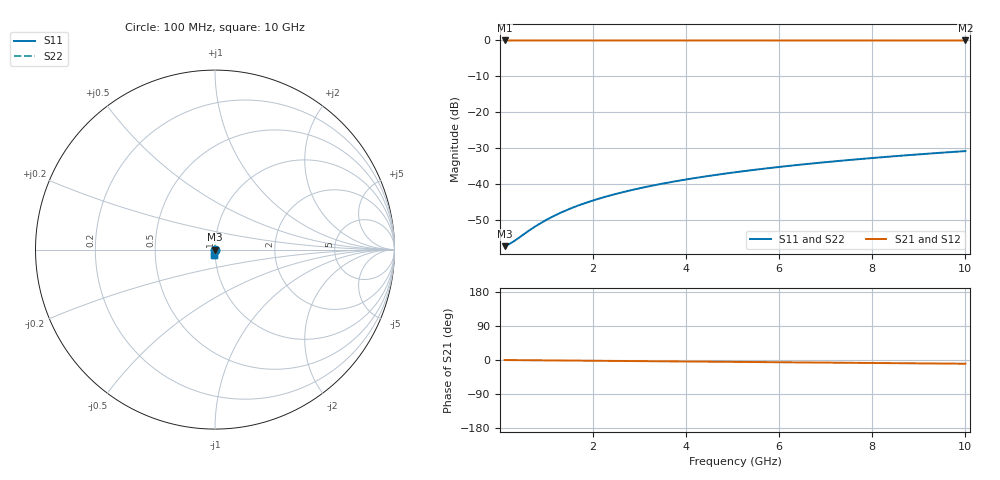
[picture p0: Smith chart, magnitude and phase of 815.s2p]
# Hz S RI R 50.00
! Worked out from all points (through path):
!   100 points, 100 MHz to 10 GHz, reference 50 ohm
!   highest |S21| = -0.01 dB at 100 MHz (marker M1); lowest = 0.0 dB at 10 GHz (marker M2)
!   group delay of S21, straight-line fit = 2.73 ps
!   lowest |S11| = -57.2 dB at 100 MHz (marker M3), VSWR 1.00, Z = 50.1 - j0.0292 ohm
!   |S11| at or under -10 dB: start of sweep to end of sweep
!   |S22| runs from -57.2 to -30.8 dB; largest |S21 - S12| = 0
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1e8  0.00135 -0.000292  0.9986 -0.00171  0.9986 -0.00171  0.00135 -0.000292
2e8  0.00136 -0.000583  0.9986 -0.00343  0.9986 -0.00343  0.00136 -0.000583
3e8  0.00136 -0.000875  0.9986 -0.00514  0.9986 -0.00514  0.00136 -0.000875
7e8  0.00135 -0.00204  0.9985 -0.012  0.9985 -0.012  0.00135 -0.00204
8e8  0.00135 -0.00233  0.9985 -0.0137  0.9985 -0.0137  0.00135 -0.00233
1e9  0.00133 -0.00292  0.9984 -0.0171  0.9984 -0.0171  0.00133 -0.00292
1.2e9  0.00132 -0.0035  0.9984 -0.0206  0.9984 -0.0206  0.00132 -0.0035
1.4e9  0.00129 -0.00408  0.9983 -0.024  0.9983 -0.024  0.00129 -0.00408
1.6e9  0.00127 -0.00467  0.9982 -0.0274  0.9982 -0.0274  0.00127 -0.00467
1.8e9  0.00123 -0.00525  0.9981 -0.0308  0.9981 -0.0308  0.00123 -0.00525
2.1e9  0.00118 -0.00612  0.9979 -0.036  0.9979 -0.036  0.00118 -0.00612
2.5e9  0.00109 -0.00729  0.9976 -0.0428  0.9976 -0.0428  0.00109 -0.00729
2.9e9  0.000987 -0.00845  0.9973 -0.0497  0.9973 -0.0497  0.000987 -0.00845
3.4e9  0.000834 -0.00991  0.9968 -0.0582  0.9968 -0.0582  0.000834 -0.00991
3.8e9  0.000693 -0.0111  0.9963 -0.0651  0.9963 -0.0651  0.000693 -0.0111
4.2e9  0.000536 -0.0122  0.9958 -0.0719  0.9958 -0.0719  0.000536 -0.0122
5.1e9  0.000125 -0.0148  0.9945 -0.0873  0.9945 -0.0873  0.000125 -0.0148
5.9e9  -0.000309 -0.0171  0.9932 -0.1009  0.9932 -0.1009  -0.000309 -0.0171
6.7e9  -0.000805 -0.0194  0.9917 -0.1146  0.9917 -0.1146  -0.000805 -0.0194
7.5e9  -0.00136 -0.0217  0.9899 -0.1282  0.9899 -0.1282  -0.00136 -0.0217
8.4e9  -0.00207 -0.0242  0.9877 -0.1435  0.9877 -0.1435  -0.00207 -0.0242
1e10  -0.00352 -0.0287  0.9832 -0.1706  0.9832 -0.1706  -0.00352 -0.0287
